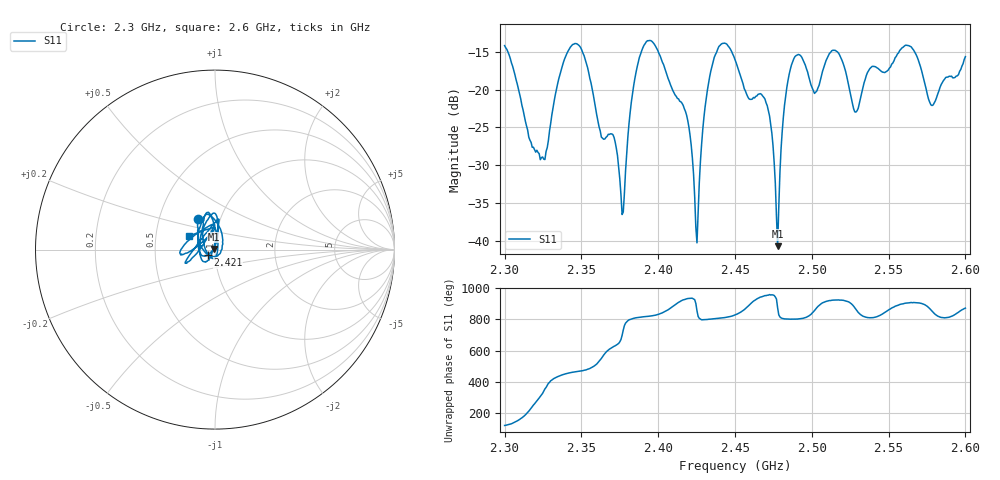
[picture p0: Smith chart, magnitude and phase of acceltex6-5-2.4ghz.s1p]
! NanoVNA-App
! Date: 2026-05-15 12:14:17
! Start: 2.3GHz Stop: 2.6GHz Points: 401
! S-Parameter data: F S11
# Hz S RI R 50
!  Frequency  S11_Real  S11_Imag
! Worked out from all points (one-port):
!   401 points, 2.3 GHz to 2.6 GHz, reference 50 ohm
!   lowest |S11| = -40.7 dB at 2.478 GHz (marker M1), VSWR 1.02, Z = 49.2 + j0.383 ohm
!   |S11| at or under -10 dB: start of sweep to end of sweep
!   S11 on the Smith chart (normalised r, x): 2.3 GHz: 0.79, +0.28; 2.421 GHz: 0.92, -0.05; 2.6 GHz: 0.74, +0.11
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2.3e9  -0.0922 0.1727
2.32475e9  0.0293 -0.0207
2.3375e9  0.0158 0.1416
2.35025e9  -0.0614 0.1722
2.363e9  -0.0479 -0.00766
2.37125e9  -0.00229 -0.0483
2.375e9  0.0112 -0.023
2.37725e9  0.0152 0.00313
2.38325e9  0.00803 0.0936
2.3915e9  -0.0289 0.1997
2.4125e9  -0.0872 -0.00734
2.42075e9  -0.0403 -0.0291
2.42525e9  -0.00688 0.0068
2.42975e9  0.0129 0.064
2.435e9  0.0165 0.1413
2.45e9  -0.0512 0.1497
2.471e9  -0.0438 -0.0649
2.47775e9  -0.00833 0.0039
2.48225e9  0.00864 0.0786
2.4875e9  0.0214 0.1515
2.5025e9  -0.0803 0.0528
2.516e9  -0.1636 -0.075
2.525e9  -0.0946 -0.011
2.5295e9  -0.0513 0.0513
2.54e9  -0.00469 0.1426
2.5625e9  -0.1953 -0.019
2.57825e9  -0.0548 0.0562
2.6e9  -0.1473 0.0754
